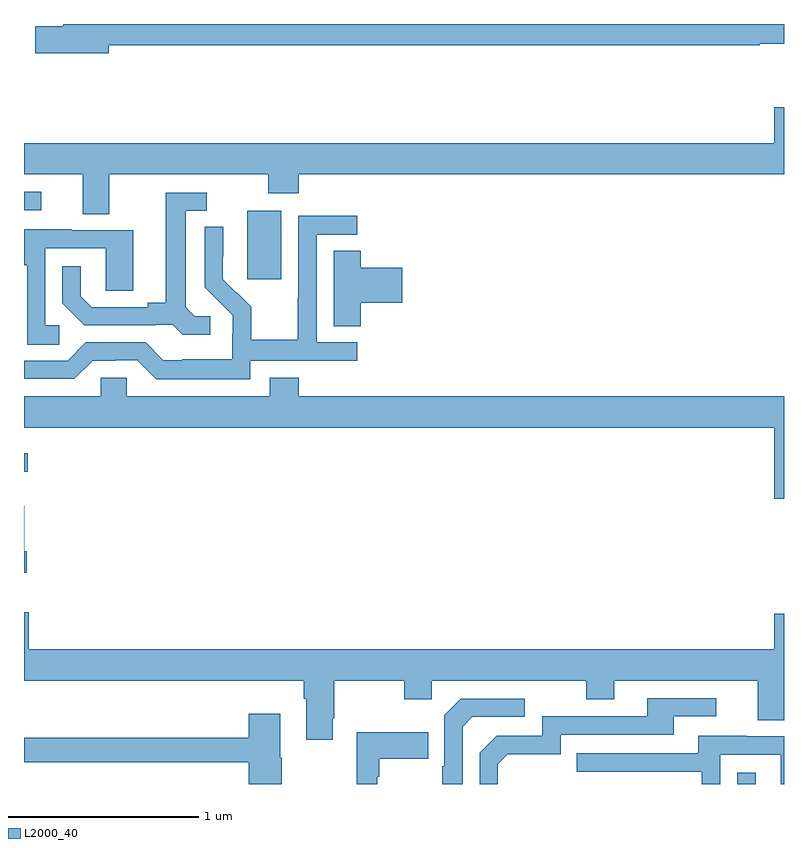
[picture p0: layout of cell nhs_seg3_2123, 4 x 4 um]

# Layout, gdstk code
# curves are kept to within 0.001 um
import gdstk
lib = gdstk.Library(unit=1e-6, precision=1e-09)
def R(c, l, rs):  # rectangles x0, y0, x1, y1
    for r in rs: c.add(gdstk.rectangle(r[:2], r[2:], *l))
def P(c, l, *ps):  # polygons
    for p in ps: c.add(gdstk.Polygon(p, *l))
L2000_40 = (2000, 40)

nhs_seg3_2123 = lib.new_cell('nhs_seg3_2123')
R(nhs_seg3_2123, L2000_40, [(224.754,672.4,224.851,672.46), (221,674.043,221.02,674.14), (222.176,675.057,222.355,675.418), (221,675.42,221.092,675.516)])
P(nhs_seg3_2123, L2000_40, [(221.446,676.288),(224.872,676.288),(224.872,676.296),(225,676.296),(225,676.4),(221.207,676.4),(221.207,676.388),(221.058,676.388),(221.058,676.246),(221.446,676.246)],
  [(221.449,675.608),(222.286,675.608),(222.286,675.509),(222.446,675.509),(222.446,675.608),(225,675.608),(225,675.961),(224.948,675.961),(224.948,675.772),(221,675.772),(221,675.608),(221.309,675.608),(221.309,675.4),(221.449,675.4)],
  [(221.98,674.862),(221.898,674.862),(221.851,674.909),(221.851,675.417),(221.962,675.417),(221.962,675.513),(221.747,675.513),(221.747,674.933),(221.651,674.933),(221.651,674.91),(221.356,674.91),(221.299,674.967),(221.299,675.124),(221.202,675.124),(221.202,674.93),(221.318,674.814),(221.69,674.814),(221.69,674.817),(221.784,674.817),(221.836,674.765),(221.98,674.765)],
  [(222.192,674.628),(222.754,674.628),(222.754,674.724),(222.54,674.724),(222.54,675.291),(222.754,675.291),(222.754,675.39),(222.444,675.39),(222.444,674.96),(222.442,674.96),(222.442,674.737),(222.197,674.737),(222.197,674.911),(222.12,674.988),(222.117,674.985),(222.047,675.056),(222.048,675.332),(221.952,675.332),(221.952,675.014),(222.098,674.866),(222.098,674.769),(222.096,674.769),(222.096,674.635),(221.833,674.635),(221.833,674.631),(221.733,674.631),(221.64,674.724),(221.325,674.724),(221.229,674.628),(221,674.628),(221,674.532),(221.265,674.532),(221.361,674.628),(221.48,674.628),(221.48,674.631),(221.595,674.631),(221.695,674.531),(222.192,674.531)],
  [(221.185,674.814),(221.112,674.814),(221.112,675.219),(221.43,675.219),(221.43,674.995),(221.575,674.995),(221.575,675.315),(221.251,675.315),(221.251,675.319),(221,675.319),(221,675.129),(221.016,675.129),(221.016,674.713),(221.185,674.713)],
  [(222.773,674.933),(222.991,674.933),(222.991,675.116),(222.773,675.116),(222.773,675.206),(222.629,675.206),(222.629,674.809),(222.773,674.809)],
  [(225,674.44),(222.446,674.44),(222.446,674.539),(222.293,674.539),(222.293,674.44),(221.541,674.44),(221.541,674.538),(221.403,674.538),(221.403,674.44),(221,674.44),(221,674.276),(224.948,674.276),(224.948,673.902),(225,673.902)],
  [(221.015,673.624),(221.002,673.624),(221.002,673.864),(221,673.864),(221,673.512),(221.015,673.512)],
  [(222.625,672.745),(222.633,672.745),(222.633,672.944),(223,672.944),(223,672.845),(223.146,672.845),(223.146,672.944),(223.96,672.944),(223.96,672.845),(224.107,672.845),(224.107,672.944),(224.861,672.944),(224.861,672.736),(225,672.736),(225,673.297),(224.948,673.297),(224.948,673.108),(221.024,673.108),(221.024,673.303),(221,673.303),(221,672.944),(222.473,672.944),(222.473,672.848),(222.485,672.848),(222.485,672.633),(222.625,672.633)],
  [(223.494,672.504),(223.547,672.557),(223.824,672.557),(223.824,672.66),(224.419,672.66),(224.419,672.756),(224.644,672.756),(224.644,672.852),(224.279,672.852),(224.279,672.756),(223.728,672.756),(223.728,672.654),(223.488,672.654),(223.398,672.564),(223.398,672.4),(223.494,672.4)],
  [(223.308,672.702),(223.359,672.753),(223.636,672.753),(223.636,672.849),(223.299,672.849),(223.212,672.762),(223.212,672.493),(223.2,672.493),(223.2,672.4),(223.308,672.4)],
  [(222.357,672.537),(222.349,672.537),(222.349,672.769),(222.182,672.769),(222.182,672.643),(221,672.643),(221,672.514),(222.182,672.514),(222.182,672.4),(222.357,672.4)],
  [(222.858,672.437),(222.871,672.437),(222.871,672.533),(223.127,672.533),(223.127,672.673),(222.75,672.673),(222.75,672.4),(222.858,672.4)],
  [(224.664,672.555),(224.982,672.555),(224.982,672.4),(225,672.4),(225,672.651),(224.803,672.651),(224.803,672.655),(224.549,672.655),(224.549,672.561),(223.909,672.561),(223.909,672.465),(224.568,672.465),(224.568,672.4),(224.664,672.4)])

lib.write_gds('nhs_seg3_2123.gds')
